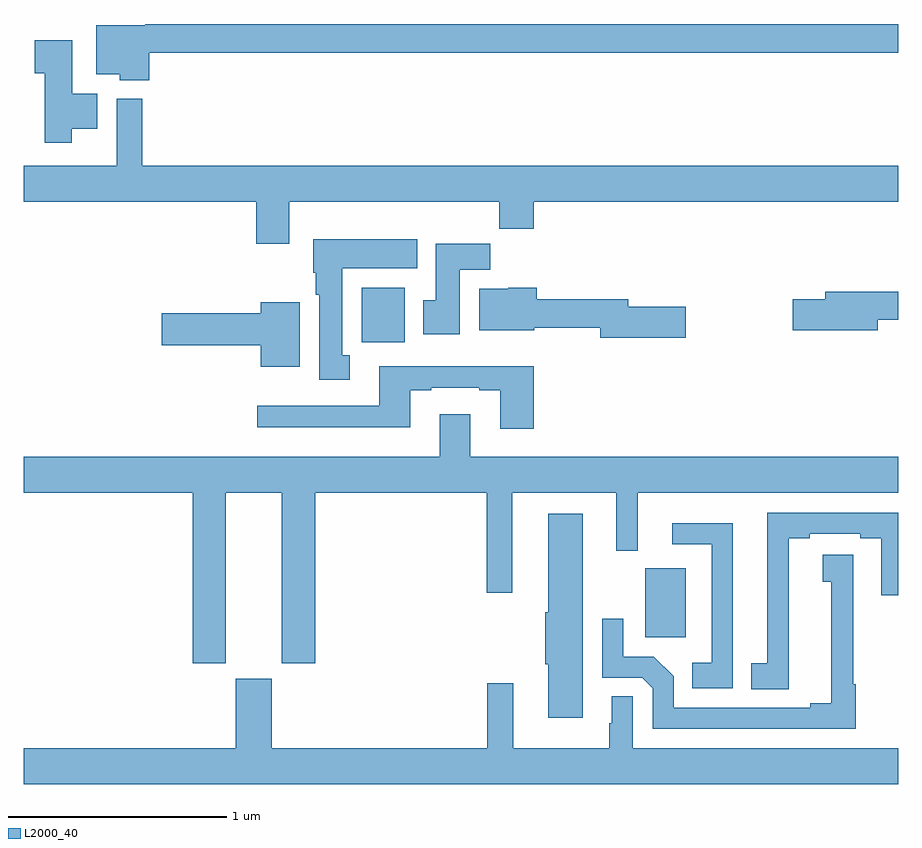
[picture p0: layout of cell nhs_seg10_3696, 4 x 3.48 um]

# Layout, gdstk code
import gdstk
lib = gdstk.Library(unit=1e-6, precision=1e-09)
def R(c, l, rs):  # rectangles x0, y0, x1, y1
    for r in rs: c.add(gdstk.rectangle(r[:2], r[2:], *l))
def P(c, l, *ps):  # polygons
    for p in ps: c.add(gdstk.Polygon(p, *l))
L2000_40 = (2000, 40)

nhs_seg10_3696 = lib.new_cell('nhs_seg10_3696')
R(nhs_seg10_3696, L2000_40, [(315.842,1259.696,316.027,1260.01), (314.547,1261.044,314.743,1261.294)])
P(nhs_seg10_3696, L2000_40, [(313.574,1262.368),(317,1262.368),(317,1262.5),(313.557,1262.5),(313.557,1262.494),(313.331,1262.494),(313.331,1262.27),(313.44,1262.27),(313.44,1262.243),(313.574,1262.243)],
  [(313.219,1262.021),(313.336,1262.021),(313.336,1262.182),(313.222,1262.182),(313.222,1262.426),(313.051,1262.426),(313.051,1262.275),(313.097,1262.275),(313.097,1261.956),(313.219,1261.956)],
  [(313.425,1262.158),(313.425,1261.852),(313,1261.852),(313,1261.688),(314.063,1261.688),(314.063,1261.494),(314.215,1261.494),(314.215,1261.688),(315.175,1261.688),(315.175,1261.564),(315.332,1261.564),(315.332,1261.688),(317,1261.688),(317,1261.852),(313.541,1261.852),(313.541,1262.158)],
  [(314.491,1260.985),(314.458,1260.985),(314.458,1261.382),(314.8,1261.382),(314.8,1261.516),(314.324,1261.516),(314.324,1261.362),(314.336,1261.362),(314.336,1261.262),(314.351,1261.262),(314.351,1260.873),(314.491,1260.873)],
  [(314.995,1261.376),(315.134,1261.376),(315.134,1261.495),(314.885,1261.495),(314.885,1261.236),(314.828,1261.236),(314.828,1261.08),(314.995,1261.08)],
  [(316.027,1261.206),(315.766,1261.206),(315.766,1261.24),(315.347,1261.24),(315.347,1261.294),(315.216,1261.294),(315.216,1261.288),(315.083,1261.288),(315.083,1261.1),(315.334,1261.1),(315.334,1261.111),(315.638,1261.111),(315.638,1261.064),(316.027,1261.064)],
  [(316.906,1261.147),(317,1261.147),(317,1261.276),(316.667,1261.276),(316.667,1261.242),(316.518,1261.242),(316.518,1261.1),(316.906,1261.1)],
  [(314.263,1261.228),(314.084,1261.228),(314.084,1261.178),(313.632,1261.178),(313.632,1261.031),(314.084,1261.031),(314.084,1260.932),(314.263,1260.932)],
  [(315.332,1260.934),(314.627,1260.934),(314.627,1260.753),(314.067,1260.753),(314.067,1260.656),(314.767,1260.656),(314.767,1260.825),(314.863,1260.825),(314.863,1260.837),(315.083,1260.837),(315.083,1260.825),(315.179,1260.825),(315.179,1260.648),(315.332,1260.648)],
  [(313.924,1260.356),(314.18,1260.356),(314.18,1259.577),(314.333,1259.577),(314.333,1260.356),(315.118,1260.356),(315.118,1259.898),(315.235,1259.898),(315.235,1260.356),(315.71,1260.356),(315.71,1260.09),(315.808,1260.09),(315.808,1260.356),(317,1260.356),(317,1260.52),(315.043,1260.52),(315.043,1260.715),(314.903,1260.715),(314.903,1260.52),(313,1260.52),(313,1260.356),(313.772,1260.356),(313.772,1259.577),(313.924,1259.577)],
  [(316.499,1259.867),(316.498,1259.867),(316.498,1260.148),(316.594,1260.148),(316.594,1260.168),(316.826,1260.168),(316.826,1260.148),(316.923,1260.148),(316.923,1259.887),(317,1259.887),(317,1260.264),(316.4,1260.264),(316.4,1259.577),(316.327,1259.577),(316.327,1259.458),(316.499,1259.458)],
  [(315.556,1260.259),(315.398,1260.259),(315.398,1259.81),(315.386,1259.81),(315.386,1259.572),(315.398,1259.572),(315.398,1259.328),(315.556,1259.328)],
  [(316.242,1259.666),(316.243,1259.666),(316.243,1260.217),(315.966,1260.217),(315.966,1260.12),(316.146,1260.12),(316.146,1259.579),(316.057,1259.579),(316.057,1259.463),(316.242,1259.463)],
  [(316.805,1259.48),(316.795,1259.48),(316.795,1260.073),(316.655,1260.073),(316.655,1259.948),(316.694,1259.948),(316.694,1259.393),(316.598,1259.393),(316.598,1259.373),(315.972,1259.373),(315.972,1259.517),(315.882,1259.607),(315.741,1259.607),(315.741,1259.779),(315.645,1259.779),(315.645,1259.511),(315.828,1259.511),(315.876,1259.463),(315.876,1259.277),(316.805,1259.277)],
  [(317,1259.188),(315.786,1259.188),(315.786,1259.426),(315.689,1259.426),(315.689,1259.301),(315.678,1259.301),(315.678,1259.188),(315.238,1259.188),(315.238,1259.485),(315.121,1259.485),(315.121,1259.188),(314.134,1259.188),(314.134,1259.505),(313.97,1259.505),(313.97,1259.188),(313,1259.188),(313,1259.024),(317,1259.024)])

lib.write_gds('nhs_seg10_3696.gds')
